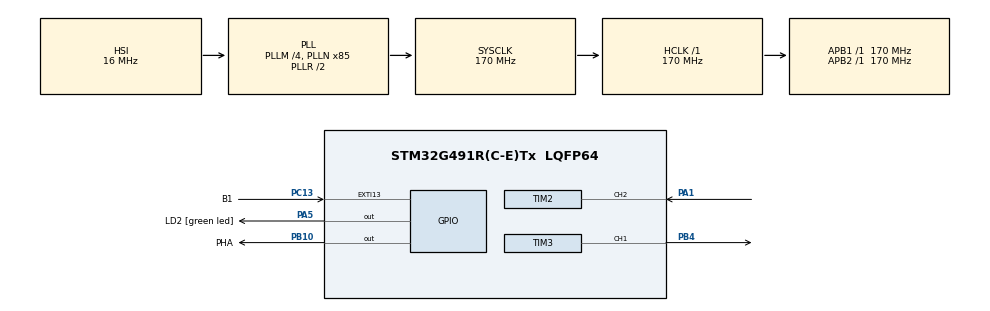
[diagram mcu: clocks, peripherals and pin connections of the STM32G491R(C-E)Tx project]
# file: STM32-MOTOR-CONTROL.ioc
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Mcu.Family=STM32G4
Mcu.Name=STM32G491R(C-E)Tx
Mcu.Package=LQFP64
NVIC.EXTI15_10_IRQn=true\:0\:0\:false\:false\:true\:true\:true\:true
NVIC.PriorityGroup=NVIC_PRIORITYGROUP_4
NVIC.TIM2_IRQn=true\:0\:0\:false\:false\:true\:true\:true\:true
PA1.Signal=S_TIM2_CH2
PA13.GPIO_Label=T_SWDIO
PA13.Signal=SYS_JTMS-SWDIO
PA14.GPIO_Label=T_SWCLK
PA14.Signal=SYS_JTCK-SWCLK
PA2.GPIO_Label=LPUART1_TX [STLINKV3E_VCP_RX]
PA2.Signal=LPUART1_TX
PA3.GPIO_Label=LPUART1_RX [STLINKV3E_VCP_TX]
PA3.Signal=LPUART1_RX
PA5.GPIO_Label=LD2 [green led]
PA5.Signal=GPIO_Output
PB10.GPIO_Label=PHA
PB10.Signal=GPIO_Output
PB3.GPIO_Label=T_SWO
PB3.Signal=SYS_JTDO-SWO
PB4.Signal=S_TIM3_CH1
PC13.GPIO_Label=B1
PC13.GPIO_ModeDefaultEXTI=GPIO_MODE_IT_RISING_FALLING
PC13.Signal=GPXTI13
PC14-OSC32_IN.GPIO_Label=RCC_OSC32_IN
PC14-OSC32_IN.Signal=RCC_OSC32_IN
PC15-OSC32_OUT.GPIO_Label=RCC_OSC32_OUT
PC15-OSC32_OUT.Signal=RCC_OSC32_OUT
PF0-OSC_IN.GPIO_Label=RCC_OSC_IN
PF0-OSC_IN.Signal=RCC_OSC_IN
PF1-OSC_OUT.GPIO_Label=RCC_OSC_OUT
PF1-OSC_OUT.Signal=RCC_OSC_OUT
ProjectManager.HeapSize=0x200
ProjectManager.StackSize=0x400
ProjectManager.TargetToolchain=STM32CubeIDE
RCC.ADC12Freq_Value=170000000
RCC.ADC345Freq_Value=170000000
RCC.AHBFreq_Value=170000000
RCC.APB1Freq_Value=170000000
RCC.APB1TimFreq_Value=170000000
RCC.APB2Freq_Value=170000000
RCC.APB2TimFreq_Value=170000000
RCC.CortexFreq_Value=170000000
RCC.EXTERNAL_CLOCK_VALUE=12288000
RCC.HCLKFreq_Value=170000000
RCC.HSE_VALUE=24000000
RCC.HSI48_VALUE=48000000
RCC.HSI_VALUE=16000000
RCC.LSE_VALUE=32768
RCC.PLLM=RCC_PLLM_DIV4
RCC.PLLN=85
RCC.RTCClockSelection=RCC_RTCCLKSOURCE_LSE
RCC.SYSCLKFreq_VALUE=170000000
RCC.SYSCLKSource=RCC_SYSCLKSOURCE_PLLCLK
RCC.USBFreq_Value=48000000
RCC.VCOOutputFreq_Value=340000000
SH.S_TIM2_CH2.0=TIM2_CH2,Input_Capture2_from_TI2
SH.S_TIM3_CH1.0=TIM3_CH1,PWM Generation1 CH1
TIM2.Channel-Input_Capture2_from_TI2=TIM_CHANNEL_2
TIM2.ICPolarity_CH2=TIM_INPUTCHANNELPOLARITY_BOTHEDGE
TIM2.Prescaler=1699
TIM3.Channel-PWM\ Generation1\ CH1=TIM_CHANNEL_1
TIM3.PeriodNoDither=999
TIM3.Prescaler=169
VP_SYS_VS_DBSignals.Mode=DisableDeadBatterySignals
VP_TIM2_VS_ClockSourceINT.Mode=Internal
VP_TIM3_VS_ClockSourceINT.Mode=Internal
board=NUCLEO-G491RE

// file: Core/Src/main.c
/* USER CODE BEGIN Header */
/**
  ******************************************************************************
  * @file           : main.c
  * @brief          : Main program body
  ******************************************************************************
  * @attention
  *
  * Copyright (c) 2025 STMicroelectronics.
  * All rights reserved.
  *
  * This software is licensed under terms that can be found in the LICENSE file
  * in the root directory of this software component.
  * If no LICENSE file comes with this software, it is provided AS-IS.
  *
  ******************************************************************************
  */
/* USER CODE END Header */
#include "main.h"

TIM_HandleTypeDef htim2;
TIM_HandleTypeDef htim3;

void SystemClock_Config(void);
static void MX_GPIO_Init(void);
static void MX_TIM3_Init(void);
static void MX_TIM2_Init(void);

/* USER CODE BEGIN 0 */
void HAL_GPIO_EXTI_Callback(uint16_t GPIO_Pin)
{
    if(GPIO_Pin == GPIO_PIN_13) // If The INT Source Is EXTI Line9 (A9 Pin)
    {
    	if(HAL_GPIO_ReadPin(B1_GPIO_Port, B1_Pin))
    	{
    		 __HAL_TIM_SET_COMPARE(&htim3, TIM_CHANNEL_1, 499);
    	}
    	else
    	{
    		 __HAL_TIM_SET_COMPARE(&htim3, TIM_CHANNEL_1, 0);
    	}
    }
}
uint32_t ch1_duty;
void HAL_TIM_IC_CaptureCallback(TIM_HandleTypeDef *htim)
{
	static uint32_t ch1_last;
	uint32_t ch1;
    if(htim ->Channel == HAL_TIM_ACTIVE_CHANNEL_2)
    {
        ch1 = HAL_TIM_ReadCapturedValue(htim, TIM_CHANNEL_2);
        if(ch1 > ch1_last && ch1 - ch1_last < 3000)
        {
        	ch1_duty = ch1 - ch1_last;
        }
        ch1_last = ch1;
    }
}
/* USER CODE END 0 */

int main(void)
{

  /* MCU Configuration--------------------------------------------------------*/

  /* Reset of all peripherals, Initializes the Flash interface and the Systick. */
  HAL_Init();

  /* Configure the system clock */
  SystemClock_Config();

  /* Initialize all configured peripherals */
  MX_GPIO_Init();
  MX_TIM3_Init();
  MX_TIM2_Init();

  /* Infinite loop */
  /* USER CODE BEGIN WHILE */
  while (1)
  {
//	  __HAL_TIM_SET_COMPARE(&htim3, TIM_CHANNEL_1, 499);
//	  HAL_Delay(1000);
//	  __HAL_TIM_SET_COMPARE(&htim3, TIM_CHANNEL_1, 0);
//	  HAL_Delay(1000);
    /* USER CODE END WHILE */

  }
}

void SystemClock_Config(void)
{
  RCC_OscInitTypeDef RCC_OscInitStruct = {0};
  RCC_ClkInitTypeDef RCC_ClkInitStruct = {0};

  /** Configure the main internal regulator output voltage
  */
  HAL_PWREx_ControlVoltageScaling(PWR_REGULATOR_VOLTAGE_SCALE1_BOOST);

  /** Initializes the RCC Oscillators according to the specified parameters
  * in the RCC_OscInitTypeDef structure.
  */
  RCC_OscInitStruct.OscillatorType = RCC_OSCILLATORTYPE_HSI;
  RCC_OscInitStruct.HSIState = RCC_HSI_ON;
  RCC_OscInitStruct.HSICalibrationValue = RCC_HSICALIBRATION_DEFAULT;
  RCC_OscInitStruct.PLL.PLLState = RCC_PLL_ON;
  RCC_OscInitStruct.PLL.PLLSource = RCC_PLLSOURCE_HSI;
  RCC_OscInitStruct.PLL.PLLM = RCC_PLLM_DIV4;
  RCC_OscInitStruct.PLL.PLLN = 85;
  RCC_OscInitStruct.PLL.PLLP = RCC_PLLP_DIV2;
  RCC_OscInitStruct.PLL.PLLQ = RCC_PLLQ_DIV2;
  RCC_OscInitStruct.PLL.PLLR = RCC_PLLR_DIV2;
  if (HAL_RCC_OscConfig(&RCC_OscInitStruct) != HAL_OK)
  {
    Error_Handler();
  }

  /** Initializes the CPU, AHB and APB buses clocks
  */
  RCC_ClkInitStruct.ClockType = RCC_CLOCKTYPE_HCLK|RCC_CLOCKTYPE_SYSCLK
                              |RCC_CLOCKTYPE_PCLK1|RCC_CLOCKTYPE_PCLK2;
  RCC_ClkInitStruct.SYSCLKSource = RCC_SYSCLKSOURCE_PLLCLK;
  RCC_ClkInitStruct.AHBCLKDivider = RCC_SYSCLK_DIV1;
  RCC_ClkInitStruct.APB1CLKDivider = RCC_HCLK_DIV1;
  RCC_ClkInitStruct.APB2CLKDivider = RCC_HCLK_DIV1;

  if (HAL_RCC_ClockConfig(&RCC_ClkInitStruct, FLASH_LATENCY_4) != HAL_OK)
  {
    Error_Handler();
  }
}

static void MX_TIM2_Init(void)
{

  TIM_ClockConfigTypeDef sClockSourceConfig = {0};
  TIM_MasterConfigTypeDef sMasterConfig = {0};
  TIM_IC_InitTypeDef sConfigIC = {0};

  htim2.Instance = TIM2;
  htim2.Init.Prescaler = 1699;
  htim2.Init.CounterMode = TIM_COUNTERMODE_UP;
  htim2.Init.Period = 4294967295;
  htim2.Init.ClockDivision = TIM_CLOCKDIVISION_DIV1;
  htim2.Init.AutoReloadPreload = TIM_AUTORELOAD_PRELOAD_DISABLE;
  if (HAL_TIM_Base_Init(&htim2) != HAL_OK)
  {
    Error_Handler();
  }
  sClockSourceConfig.ClockSource = TIM_CLOCKSOURCE_INTERNAL;
  if (HAL_TIM_ConfigClockSource(&htim2, &sClockSourceConfig) != HAL_OK)
  {
    Error_Handler();
  }
  if (HAL_TIM_IC_Init(&htim2) != HAL_OK)
  {
    Error_Handler();
  }
  sMasterConfig.MasterOutputTrigger = TIM_TRGO_RESET;
  sMasterConfig.MasterSlaveMode = TIM_MASTERSLAVEMODE_DISABLE;
  if (HAL_TIMEx_MasterConfigSynchronization(&htim2, &sMasterConfig) != HAL_OK)
  {
    Error_Handler();
  }
  sConfigIC.ICPolarity = TIM_INPUTCHANNELPOLARITY_BOTHEDGE;
  sConfigIC.ICSelection = TIM_ICSELECTION_DIRECTTI;
  sConfigIC.ICPrescaler = TIM_ICPSC_DIV1;
  sConfigIC.ICFilter = 0;
  if (HAL_TIM_IC_ConfigChannel(&htim2, &sConfigIC, TIM_CHANNEL_2) != HAL_OK)
  {
    Error_Handler();
  }
  /* USER CODE BEGIN TIM2_Init 2 */
  HAL_TIM_IC_Start_IT(&htim2, TIM_CHANNEL_2);
  /* USER CODE END TIM2_Init 2 */

}

static void MX_TIM3_Init(void)
{

  TIM_ClockConfigTypeDef sClockSourceConfig = {0};
  TIM_MasterConfigTypeDef sMasterConfig = {0};
  TIM_OC_InitTypeDef sConfigOC = {0};

  htim3.Instance = TIM3;
  htim3.Init.Prescaler = 169;
  htim3.Init.CounterMode = TIM_COUNTERMODE_UP;
  htim3.Init.Period = 999;
  htim3.Init.ClockDivision = TIM_CLOCKDIVISION_DIV1;
  htim3.Init.AutoReloadPreload = TIM_AUTORELOAD_PRELOAD_DISABLE;
  if (HAL_TIM_Base_Init(&htim3) != HAL_OK)
  {
    Error_Handler();
  }
  sClockSourceConfig.ClockSource = TIM_CLOCKSOURCE_INTERNAL;
  if (HAL_TIM_ConfigClockSource(&htim3, &sClockSourceConfig) != HAL_OK)
  {
    Error_Handler();
  }
  if (HAL_TIM_PWM_Init(&htim3) != HAL_OK)
  {
    Error_Handler();
  }
  sMasterConfig.MasterOutputTrigger = TIM_TRGO_RESET;
  sMasterConfig.MasterSlaveMode = TIM_MASTERSLAVEMODE_DISABLE;
  if (HAL_TIMEx_MasterConfigSynchronization(&htim3, &sMasterConfig) != HAL_OK)
  {
    Error_Handler();
  }
  sConfigOC.OCMode = TIM_OCMODE_PWM1;
  sConfigOC.Pulse = 0;
  sConfigOC.OCPolarity = TIM_OCPOLARITY_HIGH;
  sConfigOC.OCFastMode = TIM_OCFAST_DISABLE;
  if (HAL_TIM_PWM_ConfigChannel(&htim3, &sConfigOC, TIM_CHANNEL_1) != HAL_OK)
  {
    Error_Handler();
  }
  /* USER CODE BEGIN TIM3_Init 2 */
  HAL_TIM_Base_Start(&htim3);
  HAL_TIM_PWM_Start(&htim3, TIM_CHANNEL_1);
  /* USER CODE END TIM3_Init 2 */
  HAL_TIM_MspPostInit(&htim3);

}

static void MX_GPIO_Init(void)
{
  GPIO_InitTypeDef GPIO_InitStruct = {0};

  /* GPIO Ports Clock Enable */
  __HAL_RCC_GPIOC_CLK_ENABLE();
  __HAL_RCC_GPIOF_CLK_ENABLE();
  __HAL_RCC_GPIOA_CLK_ENABLE();
  __HAL_RCC_GPIOB_CLK_ENABLE();

  /*Configure GPIO pin Output Level */
  HAL_GPIO_WritePin(LD2_GPIO_Port, LD2_Pin, GPIO_PIN_RESET);

  /*Configure GPIO pin Output Level */
  HAL_GPIO_WritePin(PHA_GPIO_Port, PHA_Pin, GPIO_PIN_RESET);

  /*Configure GPIO pin : B1_Pin */
  GPIO_InitStruct.Pin = B1_Pin;
  GPIO_InitStruct.Mode = GPIO_MODE_IT_RISING_FALLING;
  GPIO_InitStruct.Pull = GPIO_NOPULL;
  HAL_GPIO_Init(B1_GPIO_Port, &GPIO_InitStruct);

  /*Configure GPIO pins : LPUART1_TX_Pin LPUART1_RX_Pin */
  GPIO_InitStruct.Pin = LPUART1_TX_Pin|LPUART1_RX_Pin;
  GPIO_InitStruct.Mode = GPIO_MODE_AF_PP;
  GPIO_InitStruct.Pull = GPIO_NOPULL;
  GPIO_InitStruct.Speed = GPIO_SPEED_FREQ_LOW;
  GPIO_InitStruct.Alternate = GPIO_AF12_LPUART1;
  HAL_GPIO_Init(GPIOA, &GPIO_InitStruct);

  /*Configure GPIO pin : LD2_Pin */
  GPIO_InitStruct.Pin = LD2_Pin;
  GPIO_InitStruct.Mode = GPIO_MODE_OUTPUT_PP;
  GPIO_InitStruct.Pull = GPIO_NOPULL;
  GPIO_InitStruct.Speed = GPIO_SPEED_FREQ_LOW;
  HAL_GPIO_Init(LD2_GPIO_Port, &GPIO_InitStruct);

  /*Configure GPIO pin : PHA_Pin */
  GPIO_InitStruct.Pin = PHA_Pin;
  GPIO_InitStruct.Mode = GPIO_MODE_OUTPUT_PP;
  GPIO_InitStruct.Pull = GPIO_NOPULL;
  GPIO_InitStruct.Speed = GPIO_SPEED_FREQ_LOW;
  HAL_GPIO_Init(PHA_GPIO_Port, &GPIO_InitStruct);

  /* EXTI interrupt init*/
  HAL_NVIC_SetPriority(EXTI15_10_IRQn, 0, 0);
  HAL_NVIC_EnableIRQ(EXTI15_10_IRQn);

}

void Error_Handler(void)
{
  __disable_irq();
  while (1)
  {
  }
}
